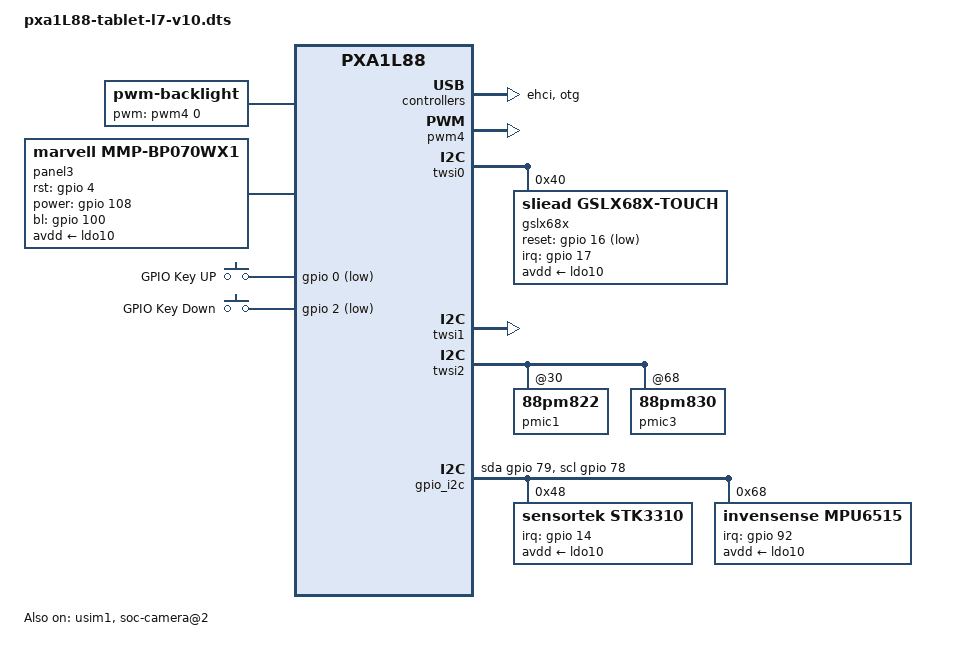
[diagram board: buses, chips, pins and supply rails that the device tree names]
/dts-v1/;
#include "pxa1L88-dkb.dtsi"
/ {
	compatible = "mrvl,pxa1L88-tablet-l7-v10", "mrvl,pxa1L88";
	aliases {
			i2c3 = &gpio_i2c;
		};
	soc {
		axi@d4200000 {	/* AXI */
			dsi: dsi@d420b800 {
				marvell,burst-mode = <0>;
			};
			disp: disp@d420b000 {
				path1 {
					marvell,y-mirror = <1>;
					720p {
						disp1_clksrc = "pll1_624";
					};
				};
			};
			usbphy: usbphy@d4207000 {
				status = "okay";
			};

			ehci: ehci@d4208100 {
				status = "okay";
			};

			otg: otg@d4208100 {
				status = "okay";
			};

		};
		apb@d4000000 {
			pwm1: pwm@d401a000 {
				compatible = "marvell,pxa25x-pwm";
				reg = <0xd401a000 0x10>;
				#pwm-cells = <2>;
				status = "disabled";
			};

			pwm2: pwm@d401a400 {
				compatible = "marvell,pxa25x-pwm";
				reg = <0xd401a400 0x10>;
				#pwm-cells = <2>;
				status = "disabled";
			};

			pwm3: pwm@d401a800 {
				compatible = "marvell,pxa25x-pwm";
				reg = <0xd401a800 0x10>;
				#pwm-cells = <2>;
				status = "disabled";
			};
			pwm4: pwm@d401ac00 {
				compatible = "marvell,pxa25x-pwm";
				reg = <0xd401ac00 0x10>;
				#pwm-cells = <2>;
				status = "okay";
			};
			keypad: keypad@d4012000 {
				status = "disabled";
			};
			keyreset {
				status = "disabled";
			};
			gpio: gpio@d4019000 {
				status = "okay";
				/*
				 * In theorical, some gpios could be routed to
				 * multiple pins. So define the gpio-ranges in
				 * board file, not silicon file.
				 */
				gcb0: gpio@d4019000 {
					/* gpio offset, pin offset, nr pins */
					gpio-ranges = <&pmx 0 55 32>;	/* GPIO[31:0] , GPIO0 ~ GPIO31 */
				};
				gcb1: gpio@d4019004 {
					gpio-ranges = <&pmx 0 87 23>;	/* GPIO[63:32] , GPIO32 ~ GPIO54 */
				};
				gcb2: gpio@d4019008 {
					gpio-ranges = <&pmx 3 110 29>;	/* GPIO[95:64] , GPIO67 ~ GPIO95 */
				};
				gcb3: gpio@d4019100 {
					gpio-ranges = <&pmx 0 139 3  &pmx 4 142 1  &pmx 12 150 1  &pmx 27 51 3>;
				};/*GPIO[127:96] , GPIO96 ~ GPIO98,GPIO100,GPIO108,GPIO123 ~ GPIO125 */
			};
			pmx: pinmux@d401e000 {
				/* pin base, nr pins & gpio function */
				pinctrl-single,gpio-range = <
					/*
					 * GPIO number is hardcoded for range at here.
					 * In gpio chip, GPIO number is not hardcoded for range.
					 * Since one gpio pin may be routed to multiple pins,
					 * define these gpio range in pxa910-dkb.dts not pxa910.dtsi.
					 */
					&range 55 55 0	/* GPIO0 ~ GPIO54 */
					&range 110 32 0 /* GPIO67 ~ GPIO98 */
					&range 142 1 0	/* GPIO100 */
					&range 150 1 0	/* GPIO108 */
					&range 51 3 0	/* GPIO123 ~ GPIO125 */
				>;
				/* MFP_LPM_FLOAT */
				mfp_pins_group_0: mfp_pins_group_0 {
					pinctrl-single,pins = <
						DF_IO8 AF4
						DF_IO9 AF0
						DF_IO10 AF0
						DF_IO11 AF0
						DF_IO12 AF0
						DF_IO13 AF0
						DF_IO14 AF0
						DF_IO15 AF0
						DF_WEn AF1
						DF_REn AF1
						DF_ALE_SM_WEn AF1
						DF_RDY0 AF1
					>;
					MFP_LPM_FLOAT;
				};
				/* MFP_PULL_LOW && MFP_LPM_PULL_FLOAT */
				mfp_pins_group_1: mfp_pins_group_1 {
					pinctrl-single,pins = <
						DF_nCS0_SM_nCS2 AF0
						DF_nCS1_SM_nCS3 AF1
						SM_nCS1 AF1
						GPIO15 AF0
					>;
					DS_MEDIUM;PULL_DOWN;EDGE_NONE;LPM_FLOAT;
				};
				/* MFP_PULL_LOW && LPM_OUTPUT_DRIVE_LOW */
				mfp_pins_group_2: mfp_pins_group_2 {
					pinctrl-single,pins = <
						GPIO1 AF0
						GPIO16 AF0
						GPIO18 AF0
					>;
					DS_MEDIUM;PULL_DOWN;EDGE_NONE;LPM_DRIVE_LOW;
				};

				/* MFP_PULL_LOW */
				mfp_pins_group_3: mfp_pins_group_3 {
					pinctrl-single,pins = <
						GPIO70 AF0
						GPIO97 AF0
						GPIO36 AF0
						GPIO43 AF0
						GPIO44 AF0
						GPIO50 AF0
						GPIO90 AF0
						GPIO92 AF0
						GPIO98 AF0
					>;
					MFP_PULL_DOWN;
				};

				/* MFP_PULL_FLOAT && MFP_LPM_PULL_FLOAT */
				mfp_pins_group_6: mfp_pins_group_6 {
					pinctrl-single,pins = <
						GPIO32 AF0
						SM_ADVMUX AF1
						/* LED_R_CTRL */
						SM_BE1 AF0
						/* LED_G_CTRL */
						SM_nCS0 AF1
						GPIO12 AF0
					>;
					DS_MEDIUM;PULL_FLOAT;EDGE_NONE;LPM_FLOAT;
				};
				/* MFP_DEFAULT */
				mfp_pins_group_7: mfp_pins_group_7 {
					pinctrl-single,pins = <
						GPIO124 AF0
						GPIO3 AF0
						GPIO5 AF0
						GPIO6 AF0
						GPIO11 AF0
						GPIO13 AF0
						GPIO19 AF0
						GPIO10 AF0
						GPIO30 AF0
						GPIO31 AF0
						GPIO33 AF0
						GPIO34 AF0
						GPIO35 AF0
						GPIO51 AF1
						GPIO52 AF1
						GPIO73 AF0
						GPIO74 AF0
						GPIO75 AF0
						GPIO76 AF0
						GPIO77 AF1
					>;
					MFP_DEFAULT;
				};
				usim1_pmx_func: usim1_pmx_func {
					pinctrl-single,pins = <
						GPIO49 AF0
					>;
					DS_MEDIUM;PULL_DOWN;EDGE_NONE;LPM_NONE;
				};

				usim1_pmx_func_sleep: usim1_pmx_func_sleep {
					pinctrl-single,pins = <
						GPIO49 AF0
					>;
					DS_MEDIUM;PULL_DOWN;EDGE_BOTH;LPM_NONE;
				};
			sensor_pmx_ctrl: sensor_pmx_ctrl {
						pinctrl-single,pins = <
							GPIO72 AF0
						>;
						DS_MEDIUM;PULL_UP;EDGE_NONE;LPM_NONE;
				};
			i2c_gpio: i2c_gpio {
			pinctrl-single,pins = <
							GPIO78 AF0
							GPIO79 AF0
						>;
						DS_FAST;PULL_UP;EDGE_NONE;LPM_NONE;
				};
				touch_pins: touch_pins {
					pinctrl-single,pins = <
						GPIO17 AF0
					>;
					MFP_LPM_FLOAT;
				};
			};
			usim1: usim@d4032000 {
				compatible = "marvell,usim1";
				pinctrl-names = "default", "sleep";
				pinctrl-0 = <&usim1_pmx_func>;
				pinctrl-1 = <&usim1_pmx_func_sleep>;
				edge-wakeup-gpio = <49>; /* GPIO49: SIM detect pin */
				status = "okay";
				};
			twsi0: i2c@d4011000 {
				pinctrl-names = "default";
				pinctrl-0 = <&twsi0_pmx_func>;
				status = "okay";

				touch1: s3202@720p {
					status = "disabled";
				};
				touch2: s3202@1080p {
					status = "disabled";
				};
				touch3: gt913@720p {
					status = "disabled";
				};
				touch4: gt913@1080p {
					status = "disabled";
				};
				gslx68x: gslx68x@40 {
					compatible = "sliead,gslx68x-touch";
					pinctrl-names = "default"; pinctrl-0 = <&touch_pins>;
					reg = <0x40>;
					gslx68x,abs-x-max = <800>;
					gslx68x,abs-y-max = <1280>;
					gslx68x,gsl-type = <0>;
					avdd-supply = <&ldo10>;
					reset-gpio = <&gpio 16 1>;
					interrupt-parent = <&gpio>;
					interrupts = <17 0x1>;
				};
			};
			twsi1: i2c@d4010800 {
				       status = "okay";

					sensor1: isl29043@44 {
					status = "disabled";
				};
					sensor2: bmp18x@77 {
					status = "disabled";
				};
					sensor3: mpu9250@69 {
					status = "disabled";
				};
					sensor4: apds9930@39 {
					status = "disabled";
				};

			};
			twsi2: i2c@d4037000 {
				pmic1: 88pm822@30 {
                                        headset {
                                                marvell,headset-flag = <0>;
                                        };
                                };
				pmic3: 88pm830@68 {
					usb {
						compatible = "marvell,88pm830-vbus";
						gpadc-number = <1>;
					};
					battery {
						bat-capacity = <3600>;	/* mAh */
					};
				};
			};
			backlight: pwm_bl {
				compatible = "pwm-backlight";
				pwms = <&pwm4 0 50000>;
				brightness-levels = <0 2 4 6 8 10 12 14 16 18 20 22 24 26 28 30 32 34 36 38 40 42 44 46 48 50 52 54 56 58 60 62 64 66 68 70 72 74 76 78 80 82 84 86 88 90 92 94 96 98 100>;
				default-brightness-level = <10>;
			};
		};
		soc-isp {
			couple-raw-sensor-support = <1>;
			status = "okay";
			backsensor {
				#address-cells = <1>;
				#size-cells = <0>;
				compatible = "marvell,backsensor";
				status = "okay";
				LSI3H7: sensor@1 {
					compatible = "marvell,lsi3h7","marvell,sensor";
					sensor-name = "lsi3h7";
					reg = <0x10>;
					adapter = <1>;
					type = <1>;
					interface = <0>;
					af_2v8-supply = <&ldo10>;
					avdd_2v8-supply = <&ldo11>;
					dovdd_1v8-supply = <&voutsw>;
					dvdd_1v2-supply = <&ldo12>;
					status = "okay";
					sensor_power {
						pinctrl-names = "default";
						pwdn-gpios = <&gpio 80 0>;
						reset-gpios = <&gpio 67 0>;
						pwdn-validvalue = <0>;
						reset-validvalue = <0>;
					};
					sensor_id {
						pid_addr = <0x0000 0x0001>;
						pid_value = <0x30 0x87>;
					};
					torch_flash {
						flash-gpios = <&gpio 18 0>;
						torcht-gpios = <&gpio 12 0>;
					};
				};
				OV8835: sensor@2 {
					compatible = "marvell,ov8835","marvell,sensor";
					sensor-name = "ov8835";
					reg = <0x36>;
					adapter = <1>;
					type = <1>;
					interface = <0>;
					af_2v8-supply = <&ldo10>;
					avdd_2v8-supply = <&ldo11>;
					dovdd_1v8-supply = <&voutsw>;
					dvdd_1v2-supply = <&ldo12>;
					status = "okay";
					sensor_power {
						pinctrl-names = "default";
						pwdn-gpios = <&gpio 80 0>;
						reset-gpios = <&gpio 67 0>;
						pwdn-validvalue = <0>;
						reset-validvalue = <0>;
					};
					sensor_id {
						pid_addr = <0x300a 0x300b>;
						pid_value = <0x88 0x35>;
					};
					torch_flash {
						flash-gpios = <&gpio 18 0>;
						torcht-gpios = <&gpio 12 0>;
					};
				};
				OV8825: sensor@3 {
					compatible = "marvell,ov8825","marvell,sensor";
					sensor-name = "ov8825";
					reg = <0x36>;
					adapter = <1>;
					type = <1>;
					interface = <0>;
					af_2v8-supply = <&ldo10>;
					avdd_2v8-supply = <&ldo11>;
					dovdd_1v8-supply = <&voutsw>;
					dvdd_1v2-supply = <&ldo12>;
					status = "okay";
					sensor_power {
						pinctrl-names = "default";
						pwdn-gpios = <&gpio 80 0>;
						reset-gpios = <&gpio 67 0>;
						pwdn-validvalue = <0>;
						reset-validvalue = <0>;
					};
					sensor_id {
						pid_addr = <0x300a 0x300b>;
						pid_value = <0x88 0x25>;
					};
					torch_flash {
						flash-gpios = <&gpio 18 0>;
						torcht-gpios = <&gpio 12 0>;
					};
				};
			};
			frontsensor {
				#address-cells = <1>;
				#size-cells = <0>;
				compatible = "marvell,backsensor";
				status = "disabled";
			};
		};

		soc-camera@0 {
			status = "disabled";
		};

		soc-camera@1 {
			status = "disabled";
		};
		soc-camera@2 {
			compatible = "soc-camera-pdrv";
			reg = <0x2 0x0>;
			status = "okay";
		};
	};
	gpio_i2c:i2c@3 {
		compatible = "i2c-gpio";
		pinctrl-names = "default";
		pinctrl-0 = <&i2c_gpio>;
		gpios = <&gpio 79 0	/* sda*/
			&gpio 78 0	/* scl */
			>;
		i2c-gpio,delay-us = <2>;
		#address-cells = <1>;
		#size-cells = <0>;
		status = "okay";

		stk3310@48 {
		compatible = "sensortek,stk3310";
		reg = <0x48>;
		interrupt-parent = <&gpio>;
		interrupts = <14 0x1>;
		sensortek,irq-gpios = <&gpio 14 0x00>;
		avdd-supply = <&ldo10>;
		};
		mpu6515@68 {
		compatible = "invensense,mpu6515";
		pinctrl-names = "default";
                pinctrl-0 = <&sensor_pmx_ctrl>;
		reg = <0x68>;
		interrupt-parent = <&gpio>;
		interrupts = <92 0x2>;
		inven,irq-gpios = <&gpio 92 0x00>;
		avdd-supply = <&ldo10>;
		axis_map_x = <1>;
		negate_x = <1>;
		axis_map_y = <0>;
		negate_y = <1>;
		axis_map_z = <2>;
		negate_z = <1>;
		inven,secondary_axis_map_x = <0>;
		inven,secondary_negate_x = <0>;
		inven,secondary_axis_map_y = <1>;
		inven,secondary_negate_y = <1>;
		inven,secondary_axis_map_z = <2>;
		inven,secondary_negate_z = <1>;
		inven,secondary_type = "compass";
		inven,secondary_name = "ak09911";
		inven,secondary_reg = <0xc>;
		};
	};

	panel1: lg4591 {
		status = "disabled";
	};

	panel2: r63311 {
		status = "disabled";
	};

	panel3: bp070wx1 {
		compatible = "marvell,mmp-bp070wx1";
		marvell,path-name = "mmp_pnpath";
		marvell,ddrfreq-qos = <2>; /* DDR_CONSTRAINT_LVL1 */
		x-mirror = <1>;
		rst_gpio = <&gpio 4 0>;
		avdd-supply = <&ldo10>;
		power_gpio = <&gpio 108 0>;
		bl_gpio = <&gpio 100 0>;
		status = "okay";
	};
	keyboard: gpio_keys {
		compatible = "gpio-keys";
		#address-cells = <1>;
		#size-cells = <0>;
		autorepeat;
		button@20 {
				label = "GPIO Key UP";
				linux,code = <115>;
				gpios = <&gpio 0 1>;
			};
		button@21 {
				label = "GPIO Key Down";
				linux,code = <114>;
				gpios = <&gpio 2 1>;
			};
	};
	led-rgb {
		status = "disabled";
	};
};
